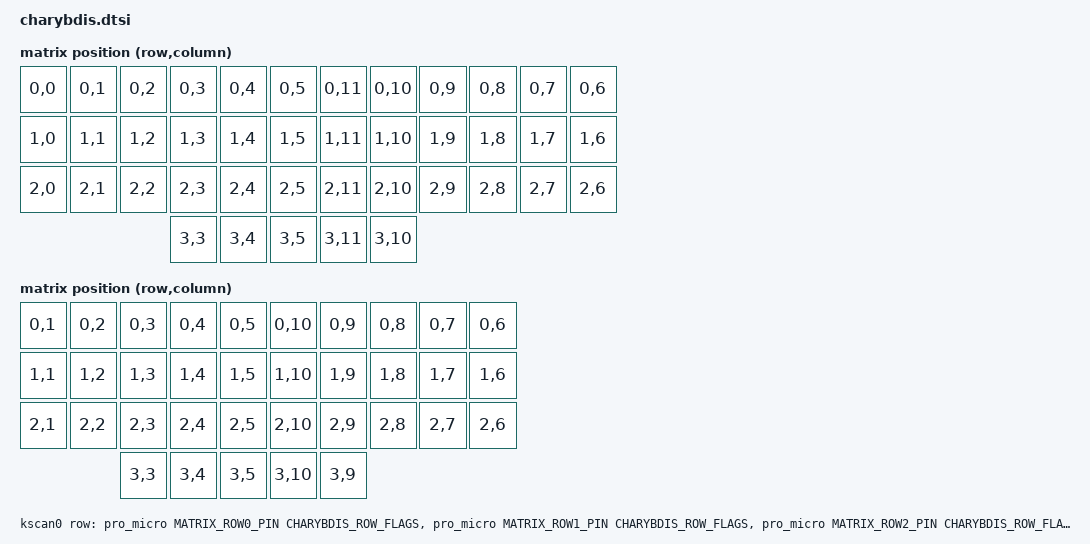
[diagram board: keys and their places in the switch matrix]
#include "charybdis-layouts.dtsi"
#include <dt-bindings/zmk/matrix_transform.h>

/*
 * Matrix diode direction — single source of truth.
 *
 * Define CHARYBDIS_DIODE_COL2ROW to use col2row (anode→col, cathode→row).
 * Comment it out (or #undef) to use row2col.
 *
 * The selected direction drives:
 *   - kscan0 diode-direction string
 *   - which side gets GPIO_PULL_DOWN (inputs/sensors only — pulls on
 *     outputs are no-ops, so col-gpios in the per-side overlays carry
 *     pulls unconditionally and are harmless when unused).
 *
 * Pull placement rule:
 *   col2row → rows are inputs → pull-down on row-gpios
 *   row2col → cols are inputs → pull-down on col-gpios (set in overlay)
 */
// #define CHARYBDIS_DIODE_COL2ROW

#ifdef CHARYBDIS_DIODE_COL2ROW
  #define CHARYBDIS_DIODE_DIR  "col2row"
  #define CHARYBDIS_ROW_FLAGS  (GPIO_ACTIVE_HIGH | GPIO_PULL_DOWN)
#else
  #define CHARYBDIS_DIODE_DIR  "row2col"
  #define CHARYBDIS_ROW_FLAGS  (GPIO_ACTIVE_HIGH)
#endif

/ {

    vbatt: vbatt {
	compatible = "zmk,battery-nrf-vddh";
    };
          
    default_transform: keymap_transform_0 {
        compatible = "zmk,matrix-transform";
        columns = <12>;
        rows = <4>;

        map = <
	RC(0,0) RC(0,1) RC(0,2) RC(0,3) RC(0,4) RC(0,5)  RC(0,11) RC(0,10) RC(0,9) RC(0,8) RC(0,7) RC(0,6)
	RC(1,0) RC(1,1) RC(1,2) RC(1,3) RC(1,4) RC(1,5)  RC(1,11) RC(1,10) RC(1,9) RC(1,8) RC(1,7) RC(1,6)
	RC(2,0) RC(2,1) RC(2,2) RC(2,3) RC(2,4) RC(2,5)  RC(2,11) RC(2,10) RC(2,9) RC(2,8) RC(2,7) RC(2,6)
							RC(3,3) RC(3,4) RC(3,5)  RC(3,11) RC(3,10)
        >;
    };

    five_column_transform: keymap_transform_1 {
        compatible = "zmk,matrix-transform";
        columns = <10>;
        rows = <4>;

        map = <
	RC(0,1) RC(0,2) RC(0,3) RC(0,4) RC(0,5)  RC(0,10) RC(0,9) RC(0,8) RC(0,7) RC(0,6)
	RC(1,1) RC(1,2) RC(1,3) RC(1,4) RC(1,5)  RC(1,10) RC(1,9) RC(1,8) RC(1,7) RC(1,6)
	RC(2,1) RC(2,2) RC(2,3) RC(2,4) RC(2,5)  RC(2,10) RC(2,9) RC(2,8) RC(2,7) RC(2,6)
					RC(3,3) RC(3,4) RC(3,5)  RC(3,10) RC(3,9)
        >;
    };
	
    kscan0: kscan {
        compatible = "zmk,kscan-gpio-matrix";
        label = "KSCAN";

        diode-direction = CHARYBDIS_DIODE_DIR;
		/*
		 * Row pins come from the per-side breakout map
		 * (breakout_left.dtsi / breakout_right.dtsi) via MATRIX_ROW*_PIN.
		 * Edit the breakout file for your half — not this list.
		 */
		row-gpios
			= <&pro_micro MATRIX_ROW0_PIN CHARYBDIS_ROW_FLAGS>
			, <&pro_micro MATRIX_ROW1_PIN CHARYBDIS_ROW_FLAGS>
			, <&pro_micro MATRIX_ROW2_PIN CHARYBDIS_ROW_FLAGS>
			, <&pro_micro MATRIX_ROW3_PIN CHARYBDIS_ROW_FLAGS>
            ;
    };
};





